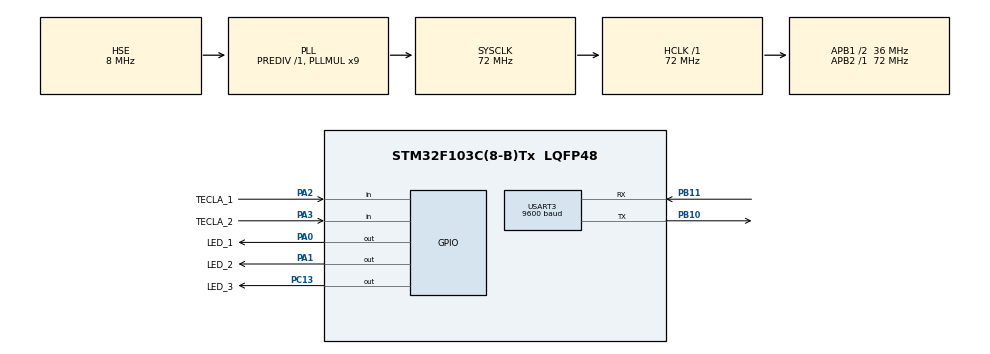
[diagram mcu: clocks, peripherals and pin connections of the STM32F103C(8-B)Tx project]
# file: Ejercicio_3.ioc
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Mcu.Family=STM32F1
Mcu.Name=STM32F103C(8-B)Tx
Mcu.Package=LQFP48
NVIC.PriorityGroup=NVIC_PRIORITYGROUP_4
NVIC.TIM2_IRQn=true\:0\:0\:false\:false\:true\:true\:true\:true
NVIC.USART3_IRQn=true\:0\:0\:false\:false\:true\:true\:true\:true
PA0-WKUP.GPIO_Label=LED_1
PA0-WKUP.Signal=GPIO_Output
PA1.GPIO_Label=LED_2
PA1.Signal=GPIO_Output
PA13.Mode=Serial_Wire
PA13.Signal=SYS_JTMS-SWDIO
PA14.Mode=Serial_Wire
PA14.Signal=SYS_JTCK-SWCLK
PA2.GPIO_Label=TECLA_1
PA2.Signal=GPIO_Input
PA3.GPIO_Label=TECLA_2
PA3.Signal=GPIO_Input
PB10.Mode=Asynchronous
PB10.Signal=USART3_TX
PB11.Mode=Asynchronous
PB11.Signal=USART3_RX
PC13-TAMPER-RTC.GPIO_Label=LED_3
PC13-TAMPER-RTC.Signal=GPIO_Output
PD0-OSC_IN.Mode=HSE-External-Oscillator
PD0-OSC_IN.Signal=RCC_OSC_IN
PD1-OSC_OUT.Mode=HSE-External-Oscillator
PD1-OSC_OUT.Signal=RCC_OSC_OUT
ProjectManager.HeapSize=0x200
ProjectManager.StackSize=0x400
ProjectManager.TargetToolchain=STM32CubeIDE
RCC.AHBFreq_Value=72000000
RCC.APB1CLKDivider=RCC_HCLK_DIV2
RCC.APB1Freq_Value=36000000
RCC.APB1TimFreq_Value=72000000
RCC.APB2Freq_Value=72000000
RCC.APB2TimFreq_Value=72000000
RCC.HCLKFreq_Value=72000000
RCC.PLLMUL=RCC_PLL_MUL9
RCC.PLLSourceVirtual=RCC_PLLSOURCE_HSE
RCC.SYSCLKFreq_VALUE=72000000
RCC.SYSCLKSource=RCC_SYSCLKSOURCE_PLLCLK
RCC.USBFreq_Value=72000000
TIM2.AutoReloadPreload=TIM_AUTORELOAD_PRELOAD_ENABLE
TIM2.Period=10
TIM2.Prescaler=7200-1
USART3.BaudRate=9600
USART3.VirtualMode=VM_ASYNC
VP_TIM2_VS_ClockSourceINT.Mode=Internal
board=custom

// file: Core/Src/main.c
/* USER CODE BEGIN Header */
/**
  ******************************************************************************
  * @file           : main.c
  * @brief          : Main program body
  ******************************************************************************
  * @attention
  *
  * Copyright (c) 2024 STMicroelectronics.
  * All rights reserved.
  *
  * This software is licensed under terms that can be found in the LICENSE file
  * in the root directory of this software component.
  * If no LICENSE file comes with this software, it is provided AS-IS.
  *
  ******************************************************************************
  */
/* USER CODE END Header */
#include "main.h"
#include "tim.h"
#include "usart.h"
#include "gpio.h"

/* USER CODE BEGIN Includes */
#include <stdio.h>
#include <string.h>
/* USER CODE END Includes */

/* USER CODE BEGIN PTD */

typedef enum BUTTON_STATE {
	TECLA_INACTIVA,
	TECLA_PRESIONADA,
	TECLA_LIBERADA
} button_state_t;

/* USER CODE END PTD */

/* USER CODE BEGIN PV */
//inicializamos las variables
button_state_t estado_boton [2]= {TECLA_INACTIVA, TECLA_INACTIVA};
uint8_t contador[2] = {0,0};
uint8_t valor_swich_anterior [2]= {0,0};
uint8_t valor_swich [2]= {0,0};
uint8_t TIEMPO_DEBOUNCE = 10;
/* USER CODE END PV */

void SystemClock_Config(void);

/* USER CODE BEGIN 0 */
// funcion para habilitar "printf"
int __io_putchar(int ch)
{
	HAL_UART_Transmit(&huart3, (uint8_t *)&ch, 1, 100);
	return ch;
}

//funcion para el debouncing
//pin_tecla y pin_led solo para puertos A
// numero de tecla para guardar los datos individuales de cada boton en un array
// el tiempo de espera es de 10ms
void debounce(uint8_t pin_tecla, uint8_t pin_led, uint8_t i)
{
	switch (estado_boton[i])
	{
	case TECLA_INACTIVA:
		valor_swich[i]= HAL_GPIO_ReadPin(GPIOA, pin_tecla);//se lee el estado del boton
		if (valor_swich[i] == 1)
		{
			valor_swich_anterior[i] = valor_swich[i];
			estado_boton[i] = TECLA_PRESIONADA;
		}
		break;
	case TECLA_PRESIONADA:
		contador[i] = contador[i] + 1;
		valor_swich[i] = HAL_GPIO_ReadPin(GPIOA, pin_tecla);//se lee el estado del boton
		if (valor_swich[i] == valor_swich_anterior[i]) //comparamos valor anterior con el valor actual
		{
			if (contador[i] > TIEMPO_DEBOUNCE)
			{
				HAL_GPIO_WritePin(GPIOA, pin_led, 1);// encendemos el led
				printf("Tecla apretada: TEC%d\n\r", i);
				valor_swich_anterior[i] = 0;
				contador[i] = 0;
				estado_boton[i] = TECLA_LIBERADA;
			}
		}
		else
		{
			contador[i] = 0;
			estado_boton[i] = TECLA_INACTIVA;
		}
		break;
	case TECLA_LIBERADA:
		valor_swich[i] = HAL_GPIO_ReadPin(GPIOA, pin_tecla);//se lee el estado del boton
		if (valor_swich[i] == 0)
		{
			HAL_GPIO_WritePin(GPIOA, pin_led, 0);// apagamos el led
			printf("Tecla liberada: TEC%d\n\r", i);
			estado_boton[i] = TECLA_INACTIVA;
		}
		break;
	}
}

/* USER CODE END 0 */

int main(void)
{

  /* MCU Configuration--------------------------------------------------------*/

  /* Reset of all peripherals, Initializes the Flash interface and the Systick. */
  HAL_Init();

  /* Configure the system clock */
  SystemClock_Config();

  /* Initialize all configured peripherals */
  MX_GPIO_Init();
  MX_USART3_UART_Init();
  MX_TIM2_Init();
  /* USER CODE BEGIN 2 */
  HAL_TIM_Base_Start_IT(&htim2);
  /* USER CODE END 2 */

  /* Infinite loop */
  while (1)
  {

  }
}

void SystemClock_Config(void)
{
  RCC_OscInitTypeDef RCC_OscInitStruct = {0};
  RCC_ClkInitTypeDef RCC_ClkInitStruct = {0};

  /** Initializes the RCC Oscillators according to the specified parameters
  * in the RCC_OscInitTypeDef structure.
  */
  RCC_OscInitStruct.OscillatorType = RCC_OSCILLATORTYPE_HSE;
  RCC_OscInitStruct.HSEState = RCC_HSE_ON;
  RCC_OscInitStruct.HSEPredivValue = RCC_HSE_PREDIV_DIV1;
  RCC_OscInitStruct.HSIState = RCC_HSI_ON;
  RCC_OscInitStruct.PLL.PLLState = RCC_PLL_ON;
  RCC_OscInitStruct.PLL.PLLSource = RCC_PLLSOURCE_HSE;
  RCC_OscInitStruct.PLL.PLLMUL = RCC_PLL_MUL9;
  if (HAL_RCC_OscConfig(&RCC_OscInitStruct) != HAL_OK)
  {
    Error_Handler();
  }

  /** Initializes the CPU, AHB and APB buses clocks
  */
  RCC_ClkInitStruct.ClockType = RCC_CLOCKTYPE_HCLK|RCC_CLOCKTYPE_SYSCLK
                              |RCC_CLOCKTYPE_PCLK1|RCC_CLOCKTYPE_PCLK2;
  RCC_ClkInitStruct.SYSCLKSource = RCC_SYSCLKSOURCE_PLLCLK;
  RCC_ClkInitStruct.AHBCLKDivider = RCC_SYSCLK_DIV1;
  RCC_ClkInitStruct.APB1CLKDivider = RCC_HCLK_DIV2;
  RCC_ClkInitStruct.APB2CLKDivider = RCC_HCLK_DIV1;

  if (HAL_RCC_ClockConfig(&RCC_ClkInitStruct, FLASH_LATENCY_2) != HAL_OK)
  {
    Error_Handler();
  }
}

/* USER CODE BEGIN 4 */

//interrupcion cada 1ms
void HAL_TIM_PeriodElapsedCallback(TIM_HandleTypeDef *htim)
{
  if(htim->Instance == TIM2)
  {
	  debounce(TECLA_1_Pin, LED_1_Pin, 0);
	  debounce(TECLA_2_Pin, LED_2_Pin, 1);
  }
}
/* USER CODE END 4 */

void Error_Handler(void)
{
  __disable_irq();
  while (1)
  {
  }
}
